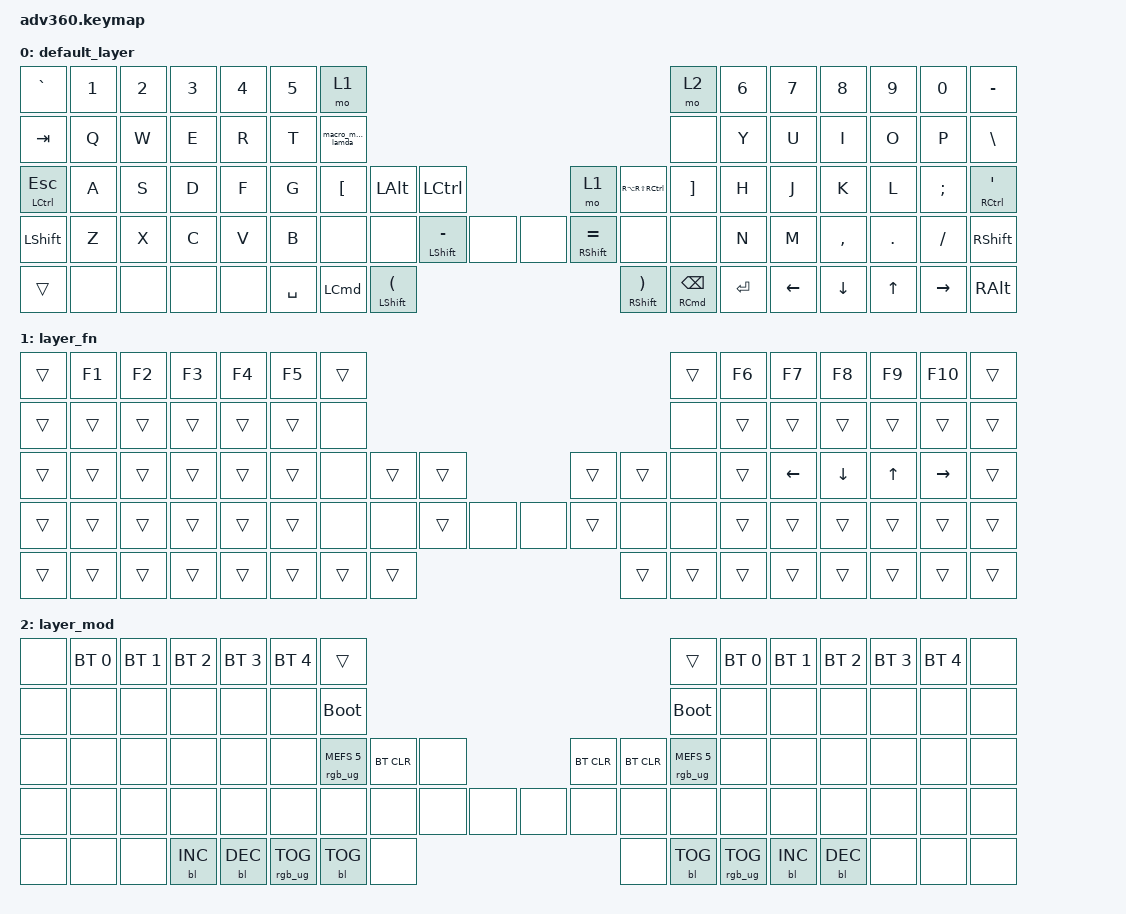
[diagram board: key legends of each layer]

/*
 * Copyright (c) 2020 The ZMK Contributors
 *
 * SPDX-License-Identifier: MIT
 */


/* THIS FILE WAS GENERATED!
 *
 * This file was generated automatically. You may or may not want to
 * edit it directly.
 */

#include <behaviors.dtsi>
#include <dt-bindings/zmk/keys.h>
#include <dt-bindings/zmk/bt.h>
#include <dt-bindings/zmk/rgb.h>
#include <dt-bindings/zmk/backlight.h>

/ {
  behaviors {
    #include "macros.dtsi"

    hm: homerow_mods {
        compatible = "zmk,behavior-hold-tap";
        label = "HOMEROW_MODS";
        #binding-cells = <2>;
        tapping-term-ms = <200>;
        quick_tap_ms = <175>;
        flavor = "tap-preferred";
        bindings = <&kp>, <&kp>;
    };
  };

    keymap {
        compatible = "zmk,keymap";


        default_layer {
            bindings = <
            &kp GRAVE  &kp N1  &kp N2  &kp N3  &kp N4  &kp N5                          &mo 1                                                                                                                                                 &mo 2  &kp N6    &kp N7     &kp N8   &kp N9     &kp N0                       &kp MINUS
              &kp TAB   &kp Q   &kp W   &kp E   &kp R   &kp T            &macro_marcro_lamda                                                                                                                                                 &none   &kp Y     &kp U      &kp I    &kp O      &kp P                        &kp BSLH
 &mt LEFT_CONTROL ESC   &kp A   &kp S   &kp D   &kp F   &kp G               &kp LEFT_BRACKET      &kp LEFT_ALT                 &kp LEFT_CONTROL                                              &mo 1    &kp RA(RS(RIGHT_CONTROL))  &kp RIGHT_BRACKET   &kp H     &kp J      &kp K    &kp L   &kp SEMI  &mt RIGHT_CONTROL SINGLE_QUOTE
            &kp LSHFT   &kp Z   &kp X   &kp C   &kp V   &kp B                          &none             &none             &mt LEFT_SHIFT MINUS   &none   &none              &mt RIGHT_SHIFT EQUAL                        &none              &none   &kp N     &kp M  &kp COMMA  &kp DOT   &kp FSLH                       &kp RSHFT
               &trans   &none   &none   &none   &none                              &kp SPACE  &kp LEFT_COMMAND  &mt LEFT_SHIFT LEFT_PARENTHESIS                  &mt RIGHT_SHIFT RIGHT_PARENTHESIS  &mt RIGHT_COMMAND BACKSPACE         &kp RETURN          &kp LEFT   &kp DOWN   &kp UP  &kp RIGHT                   &kp RIGHT_ALT
            >;
        };

        layer_fn {
            bindings = <
 &trans  &kp F1  &kp F2  &kp F3  &kp F4  &kp F5            &trans                                                  &trans  &kp F6          &kp F7          &kp F8        &kp F9          &kp F10  &trans
 &trans  &trans  &trans  &trans  &trans  &trans             &none                                                   &none  &trans          &trans          &trans        &trans           &trans  &trans
 &trans  &trans  &trans  &trans  &trans  &trans             &none  &trans  &trans                  &trans  &trans   &none  &trans  &kp LEFT_ARROW  &kp DOWN_ARROW  &kp UP_ARROW  &kp RIGHT_ARROW  &trans
 &trans  &trans  &trans  &trans  &trans  &trans             &none   &none  &trans   &none   &none  &trans   &none   &none  &trans          &trans          &trans        &trans           &trans  &trans
 &trans  &trans  &trans  &trans  &trans                    &trans  &trans  &trans                  &trans  &trans  &trans                  &trans          &trans        &trans           &trans  &trans
            >;
        };

        layer_mod {
            bindings = <
  &none  &bt BT_SEL 0  &bt BT_SEL 1  &bt BT_SEL 2  &bt BT_SEL 3  &bt BT_SEL 4                            &trans                                                                              &trans  &bt BT_SEL 0  &bt BT_SEL 1  &bt BT_SEL 2  &bt BT_SEL 3  &bt BT_SEL 4   &none
  &none         &none         &none         &none         &none         &none                       &bootloader                                                                         &bootloader         &none         &none         &none         &none         &none   &none
  &none         &none         &none         &none         &none         &none            &rgb_ug RGB_MEFS_CMD 5  &bt BT_CLR   &none                  &bt BT_CLR  &bt BT_CLR  &rgb_ug RGB_MEFS_CMD 5         &none         &none         &none         &none         &none   &none
  &none         &none         &none         &none         &none         &none                             &none       &none   &none   &none   &none       &none       &none                   &none         &none         &none         &none         &none         &none   &none
  &none         &none         &none    &bl BL_INC    &bl BL_DEC                                 &rgb_ug RGB_TOG  &bl BL_TOG   &none                       &none  &bl BL_TOG         &rgb_ug RGB_TOG                  &bl BL_INC    &bl BL_DEC         &none         &none   &none
            >;
        };

    };
};
